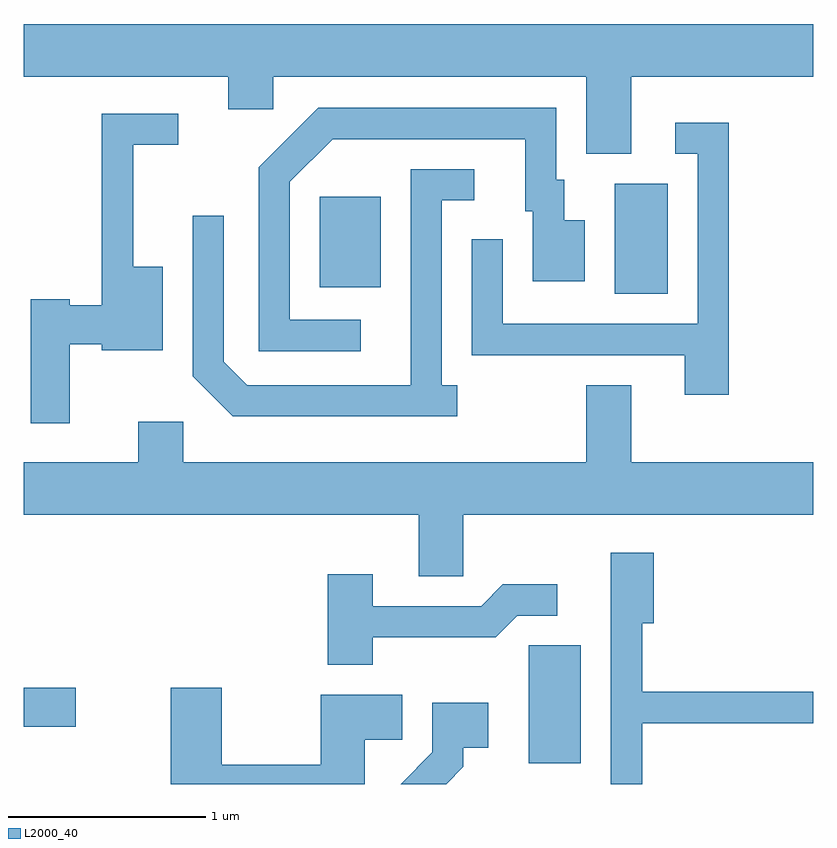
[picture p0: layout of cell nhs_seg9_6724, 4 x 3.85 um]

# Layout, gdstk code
import gdstk
lib = gdstk.Library(unit=1e-6, precision=1e-09)
def R(c, l, rs):  # rectangles x0, y0, x1, y1
    for r in rs: c.add(gdstk.rectangle(r[:2], r[2:], *l))
def P(c, l, *ps):  # polygons
    for p in ps: c.add(gdstk.Polygon(p, *l))
L2000_40 = (2000, 40)

nhs_seg9_6724 = lib.new_cell('nhs_seg9_6724')
R(nhs_seg9_6724, L2000_40, [(386.171,2010.536,386.434,2011.134), (383.611,2010.721,383.874,2010.919), (386.606,2012.916,386.874,2013.474), (385.111,2012.951,385.419,2013.409)])
P(nhs_seg9_6724, L2000_40, [(386.689,2014.016),(387.611,2014.016),(387.611,2014.284),(383.611,2014.284),(383.611,2014.016),(384.646,2014.016),(384.646,2013.851),(384.874,2013.851),(384.874,2014.016),(386.461,2014.016),(386.461,2013.626),(386.689,2013.626)],
  [(385.318,2012.784),(384.959,2012.784),(384.959,2013.484),(385.177,2013.701),(386.151,2013.701),(386.151,2013.336),(386.191,2013.336),(386.191,2012.981),(386.454,2012.981),(386.454,2013.289),(386.349,2013.289),(386.349,2013.494),(386.309,2013.494),(386.309,2013.859),(385.104,2013.859),(384.801,2013.557),(384.801,2012.626),(385.318,2012.626)],
  [(383.844,2012.661),(384.006,2012.661),(384.006,2012.631),(384.314,2012.631),(384.314,2013.054),(384.164,2013.054),(384.164,2013.671),(384.393,2013.671),(384.393,2013.829),(384.006,2013.829),(384.006,2012.859),(383.844,2012.859),(383.844,2012.889),(383.646,2012.889),(383.646,2012.261),(383.844,2012.261)],
  [(387.184,2013.784),(386.913,2013.784),(386.913,2013.626),(387.026,2013.626),(387.026,2012.764),(386.039,2012.764),(386.039,2013.193),(385.881,2013.193),(385.881,2012.606),(386.961,2012.606),(386.961,2012.406),(387.184,2012.406)],
  [(385.808,2012.454),(385.729,2012.454),(385.729,2013.391),(385.893,2013.391),(385.893,2013.549),(385.571,2013.549),(385.571,2012.454),(384.742,2012.454),(384.624,2012.572),(384.624,2013.313),(384.466,2013.313),(384.466,2012.499),(384.669,2012.296),(385.808,2012.296)],
  [(385.611,2011.486),(385.839,2011.486),(385.839,2011.796),(387.611,2011.796),(387.611,2012.064),(386.689,2012.064),(386.689,2012.454),(386.461,2012.454),(386.461,2012.064),(384.419,2012.064),(384.419,2012.269),(384.191,2012.269),(384.191,2012.064),(383.611,2012.064),(383.611,2011.796),(385.611,2011.796)],
  [(386.744,2010.741),(387.611,2010.741),(387.611,2010.899),(386.744,2010.899),(386.744,2011.246),(386.804,2011.246),(386.804,2011.604),(386.586,2011.604),(386.586,2010.432),(386.744,2010.432)],
  [(385.379,2011.176),(386.002,2011.176),(386.112,2011.286),(386.313,2011.286),(386.313,2011.444),(386.039,2011.444),(385.929,2011.334),(385.379,2011.334),(385.379,2011.494),(385.151,2011.494),(385.151,2011.036),(385.379,2011.036)],
  [(385.339,2010.656),(385.529,2010.656),(385.529,2010.884),(385.116,2010.884),(385.116,2010.529),(384.614,2010.529),(384.614,2010.919),(384.356,2010.919),(384.356,2010.432),(385.339,2010.432)],
  [(385.839,2010.519),(385.839,2010.616),(385.964,2010.616),(385.964,2010.844),(385.681,2010.844),(385.681,2010.592),(385.521,2010.432),(385.752,2010.432)])

lib.write_gds('nhs_seg9_6724.gds')
